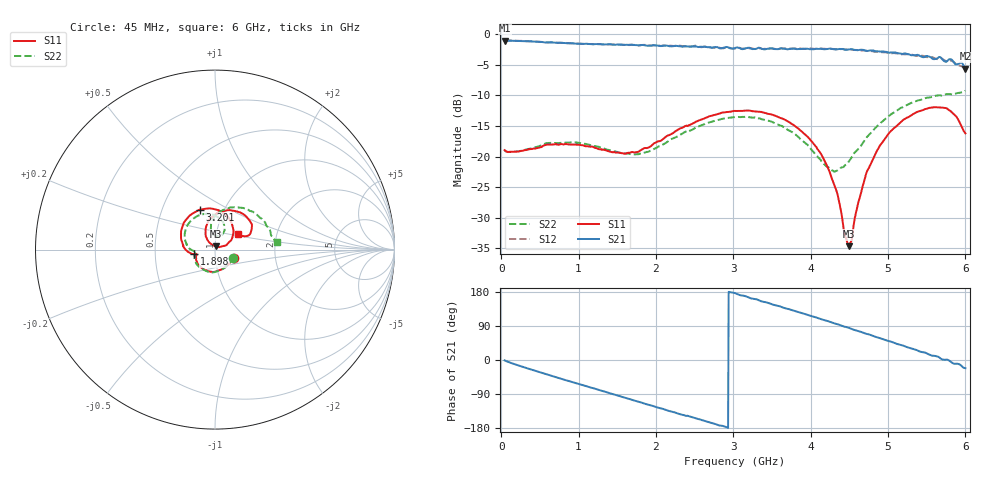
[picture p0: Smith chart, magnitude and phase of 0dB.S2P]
! C:\Users\Aljaz\OneDrive - Univerza v Ljubljani\DOKTORAT\NOVI SA\Slabilec PE43711B\meritve\0dB.S2P
! Touchstone 1.1 file saved by VNA.EXE V1.65 (www.ke5fx.com/gpib/readme.htm)
! 2. 04. 2022 19:06:53
!  Source: HP8510C.07.14: Aug 26  1998
!  Min freq: 4.500000E+007 Hz
!  Max freq: 6.000000E+009 Hz
!  Points: 801
!  Params: S11 S21 S12 S22
# GHZ S DB R 50
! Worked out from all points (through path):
!   801 points, 45 MHz to 6 GHz, reference 50 ohm
!   highest |S21| = -1.03 dB at 52.44 MHz (marker M1); lowest = -5.6 dB at 6 GHz (marker M2)
!   group delay of S21, straight-line fit = 172 ps
!   lowest |S11| = -34.6 dB at 4.496 GHz (marker M3), VSWR 1.04, Z = 50.6 + j1.77 ohm
!   |S11| at or under -10 dB: start of sweep to end of sweep
!   |S22| runs from -22.5 to -9.2 dB; largest |S21 - S12| = 0.039
!   S11 on the Smith chart (normalised r, x): 45 MHz: 1.22, -0.11; 1.898 GHz: 0.79, -0.04; 3.201 GHz: 0.77, +0.36; 6 GHz: 1.28, +0.22
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0.045  -18.94 -23.9  -1.04 -0.9  -1.01 -0.9  -18.97 -24.4
0.05244375  -19.02 -22.9  -1.03 -1.7  -1.01 -1.7  -19.07 -23.6
0.5214  -18.43 -84.9  -1.25 -33.8  -1.24 -33.8  -18.15 -88.6
1.042463  -18.13 -141.1  -1.56 -65.7  -1.58 -65.7  -17.81 -146.6
1.518863  -19.32 -164.6  -1.66 -94.4  -1.71 -94.1  -19.32 -172.8
1.898494  -18.55 -167.3  -1.87 -117.5  -1.82 -117.4  -19.22 -175.5
2.032481  -17.47 -169.9  -1.86 -126.1  -1.81 -125.7  -18.35 -176.8
2.523769  -14.26 164.6  -2.01 -154.5  -1.93 -155.1  -15.21 163.0
3.0225  -12.52 126.2  -2.24 176.6  -2.33 176.1  -13.54 127.6
3.20115  -12.48 111.2  -2.18 165.0  -2.29 165.4  -13.54 114.0
3.662663  -13.95 71.1  -2.37 137.1  -2.33 137.5  -15.25 79.7
4.019963  -17.61 40.1  -2.45 115.3  -2.34 114.8  -19.01 63.0
4.168838  -20.38 29.2  -2.45 105.7  -2.38 105.4  -21.19 65.8
4.310269  -24.82 21.4  -2.47 96.5  -2.41 96.1  -22.45 78.8
4.4517  -33.18 43.9  -2.54 87.2  -2.49 86.6  -21.35 95.9
4.496363  -34.64 70.7  -2.48 84.8  -2.52 84.0  -20.74 98.1
4.719675  -22.71 127.4  -2.68 69.0  -2.73 68.9  -16.92 99.2
5.009981  -16.19 105.5  -3.00 49.9  -3.06 50.2  -13.35 81.7
5.382169  -12.68 70.9  -3.36 25.0  -3.50 26.5  -10.83 51.5
5.620369  -11.93 47.6  -4.02 10.1  -4.01 8.9  -10.05 31.6
5.82135  -12.72 28.4  -4.14 -6.2  -4.33 -5.6  -9.82 16.0
6  -16.19 33.4  -5.61 -21.7  -5.71 -20.0  -9.23 6.6
